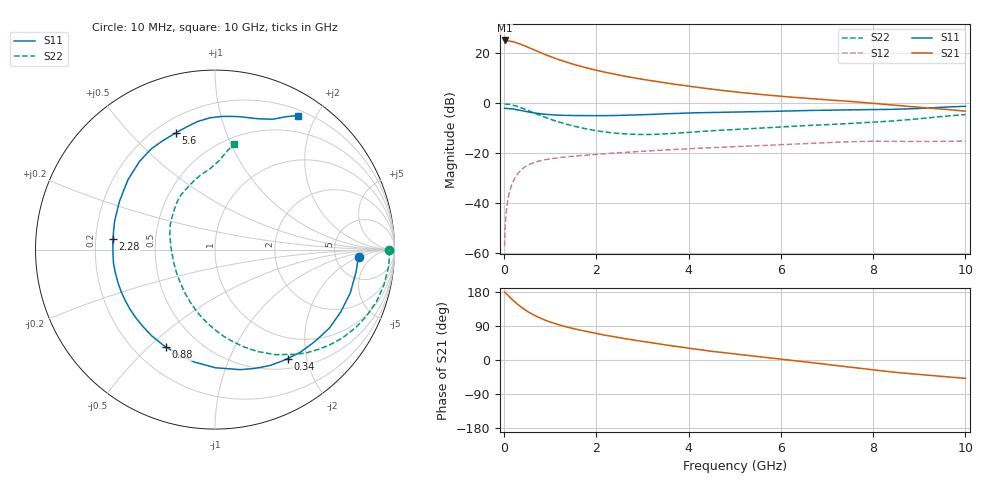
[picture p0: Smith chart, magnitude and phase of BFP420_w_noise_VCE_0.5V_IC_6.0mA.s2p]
! Infineon Technologies  Discrete & RF Semiconductors
! BFP420
! VCE =  0.5 V,  IC =  6.0 mA
! Common Emitter S-Parameters:  Jan 2016
# GHz  S  MA  R  50
!  f  S11  S21  S12  S22
! GHz  MAG  ANG  MAG  ANG  MAG  ANG  MAG  ANG
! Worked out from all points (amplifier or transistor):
!   233 points, 10 MHz to 10 GHz, reference 50 ohm
!   highest |S21| = 25.2 dB at 10 MHz (marker M1)
!   |S21| within 3 dB of that: start of sweep to 553.3 MHz
!   unconditionally stable (mu >= 1): 2.743 GHz to end of sweep
!   at 200 MHz: K = 0.09, MSG = 27.8 dB, |S12| = -30.9 dB
!   at 1.74 GHz: K = 0.71, MSG = 17.6 dB, |S12| = -20.7 dB
!   at 10 GHz: K = 1.08, MAG = 4.3 dB, |S12| = -15.1 dB
!   lowest NFmin = 0.70 dB at 900 MHz
!   S11 on the Smith chart (normalised r, x): 10 MHz: 8.64, -1.89; 340 MHz: 0.65, -1.68; 880 MHz: 0.33, -0.57; 2.28 GHz: 0.27, +0.05; 5.6 GHz: 0.28, +0.68; 10 GHz: 0.27, +1.76
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0.01  0.8012 -2.8  18.18 179.3  0.0014 100.6  0.9667 -0.2
0.02  0.7988 -3.5  17.82 178.0  0.0031 88.3  0.9728 -2.4
0.055  0.7948 -9.7  17.86 173.5  0.0082 85.5  0.9696 -6.6
0.1  0.7915 -17.7  17.81 168.2  0.0146 81.1  0.9614 -12.0
0.18  0.7748 -31.1  17.23 159.0  0.0257 73.8  0.9302 -21.3
0.26  0.7528 -44.1  16.41 150.2  0.0356 67.4  0.8897 -30.1
0.34  0.7299 -56.3  15.51 142.5  0.0442 61.6  0.84 -38.3
0.45  0.6979 -71.6  14.15 132.6  0.0538 54.8  0.7685 -48.4
0.6  0.6582 -89.9  12.34 121.3  0.0635 47.3  0.6742 -60.2
0.7  0.6368 -100.4  11.26 115.1  0.0683 43.4  0.6178 -67.0
0.88  0.6075 -116.6  9.592 105.6  0.0747 38.0  0.5319 -77.7
1  0.596 -126.1  8.684 100.1  0.0782 35.3  0.4852 -84.3
1.2  0.5822 -139.3  7.441 92.4  0.0828 31.8  0.4219 -94.2
1.42  0.5742 -151.6  6.395 85.2  0.0869 29.0  0.3698 -104.0
1.68  0.5702 -163.7  5.462 77.9  0.0913 26.5  0.3243 -115.0
2.28  0.5712 174.0  4.038 63.7  0.1004 22.2  0.2624 -139.1
3.4  0.6147 143.5  2.656 41.8  0.116 15.6  0.244 178.7
5.1  0.674 114.7  1.666 14.6  0.1377 5.5  0.3044 141.0
5.6  0.6866 108.4  1.5 7.7  0.1439 2.7  0.323 133.6
6.8  0.7284 94.2  1.219 -8.8  0.1612 -5.5  0.3694 117.1
8.4  0.7619 73.8  0.93 -31.5  0.1746 -20.7  0.4446 95.0
10  0.8776 58.3  0.701 -48.5  0.176 -30.6  0.5985 79.7
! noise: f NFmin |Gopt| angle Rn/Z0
0.9  0.7  0.16  29  0.14
1.8  1.08  0.06  113  0.12
2.4  1.17  0.11  132  0.13
3  1.26  0.17  176  0.11
4  1.43  0.31  -139  0.13
5  1.82  0.38  -115  0.24
6  2.3  0.43  -99  0.37
